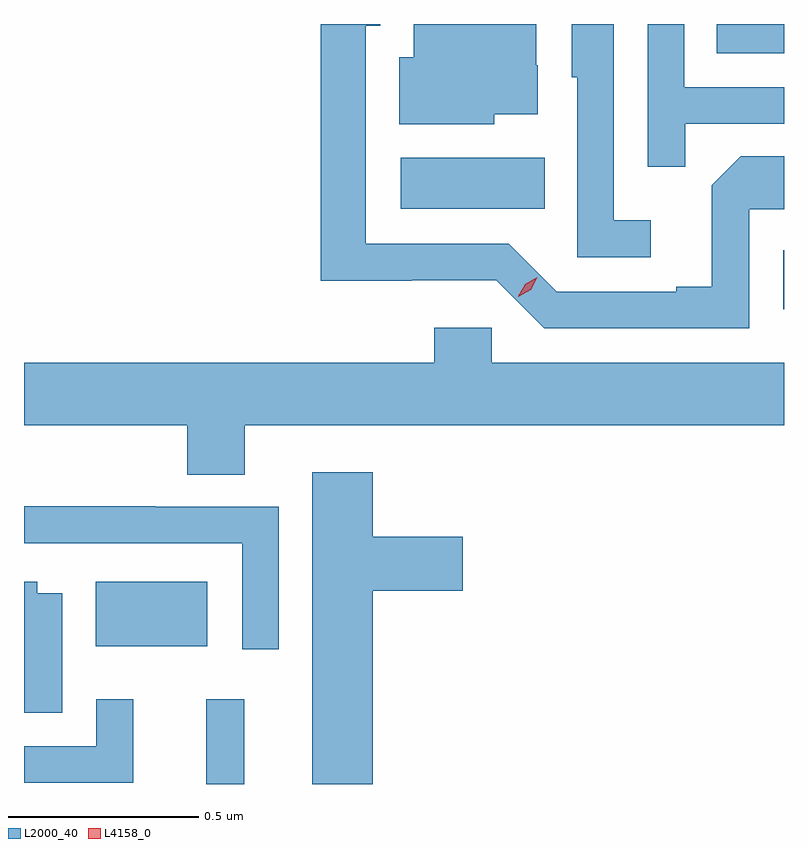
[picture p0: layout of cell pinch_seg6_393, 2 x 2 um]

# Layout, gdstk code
import gdstk
lib = gdstk.Library(unit=1e-6, precision=1e-09)
def R(c, l, rs):  # rectangles x0, y0, x1, y1
    for r in rs: c.add(gdstk.rectangle(r[:2], r[2:], *l))
def P(c, l, *ps):  # polygons
    for p in ps: c.add(gdstk.Polygon(p, *l))
L2000_40 = (2000, 40)
L4158_0 = (4158, 0)

pinch_seg6_393 = lib.new_cell('pinch_seg6_393')
R(pinch_seg6_393, L2000_40, [(659.897,925.08,659.996,925.303), (659.606,925.442,659.899,925.612), (661.415,926.33,661.417,926.484), (660.408,926.594,660.788,926.728), (661.24,927.003,661.417,927.08)])
P(pinch_seg6_393, L2000_40, [(661.066,926.563),(660.969,926.563),(660.969,927.08),(660.858,927.08),(660.858,926.94),(660.873,926.94),(660.873,926.466),(661.066,926.466)],
  [(660.654,926.843),(660.769,926.843),(660.769,926.972),(660.765,926.972),(660.765,927.08),(660.596,927.08),(660.595,927.079),(660.443,927.079),(660.443,926.992),(660.404,926.992),(660.404,926.816),(660.654,926.816)],
  [(661.157,926.817),(661.417,926.817),(661.417,926.913),(661.155,926.913),(661.155,927.08),(661.059,927.08),(661.059,926.704),(661.157,926.704)],
  [(661.326,926.592),(661.417,926.592),(661.417,926.732),(661.303,926.732),(661.227,926.656),(661.227,926.389),(661.133,926.389),(661.133,926.376),(660.819,926.376),(660.693,926.502),(660.316,926.502),(660.316,927.075),(660.355,927.075),(660.355,927.08),(660.198,927.08),(660.198,926.405),(660.438,926.405),(660.438,926.406),(660.66,926.406),(660.786,926.28),(661.326,926.28)],
  [(659.417,926.024),(659.846,926.024),(659.846,925.894),(659.998,925.894),(659.998,926.024),(661.417,926.024),(661.417,926.188),(660.648,926.188),(660.648,926.281),(660.497,926.281),(660.497,926.188),(659.417,926.188)],
  [(660.335,925.589),(660.571,925.589),(660.571,925.731),(660.335,925.731),(660.335,925.9),(660.176,925.9),(660.176,925.08),(660.335,925.08)],
  [(660.087,925.809),(659.762,925.809),(659.762,925.811),(659.417,925.811),(659.417,925.713),(659.991,925.713),(659.991,925.434),(660.087,925.434)],
  [(659.518,925.582),(659.452,925.582),(659.452,925.612),(659.417,925.612),(659.417,925.268),(659.518,925.268)],
  [(659.705,925.303),(659.607,925.303),(659.607,925.179),(659.417,925.179),(659.417,925.083),(659.705,925.083)])
P(pinch_seg6_393, L4158_0, [(660.718,926.362),(660.718,926.363),(660.736,926.395),(660.767,926.414),(660.768,926.414),(660.768,926.414),(660.75,926.381),(660.718,926.362)])

lib.write_gds('pinch_seg6_393.gds')
